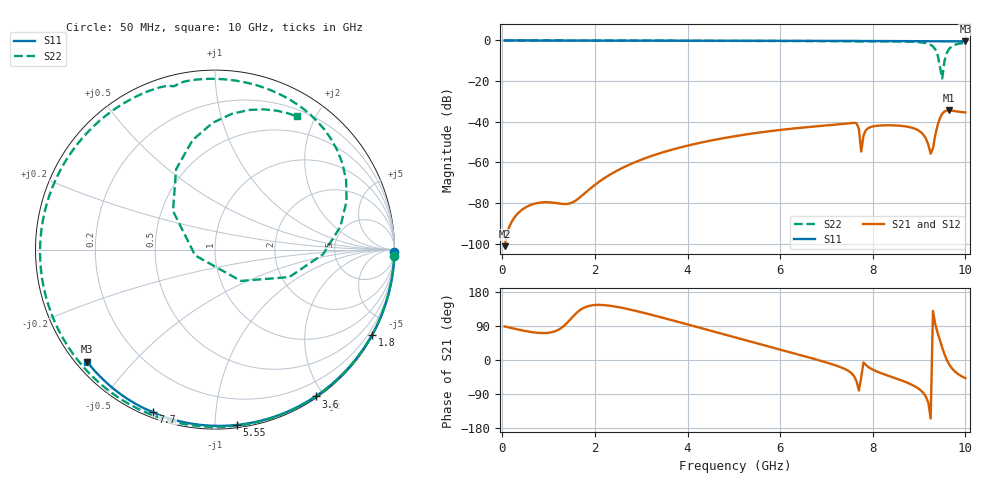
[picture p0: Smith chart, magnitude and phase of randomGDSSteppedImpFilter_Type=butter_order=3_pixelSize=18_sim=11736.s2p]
! freq	dB(S11)	phase(S11)	dB(S12)	phase(S12)
!  dB(S21)	phase(S21)	dB(S22)	phase(S22)
!S-par simulation data
#  GHz  S  DB  R 50
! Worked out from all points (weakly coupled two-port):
!   200 points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, 50 MHz to 10 GHz, reference 50 ohm
!   highest |S21| = -34.46 dB at 9.65 GHz (marker M1); lowest = -101.3 dB at 50 MHz (marker M2)
!   lowest |S11| = -0.5 dB at 10 GHz (marker M3), VSWR 37.00, Z = 1.54 - j18.8 ohm
!   |S11| at or under -10 dB: nowhere
!   |S22| runs from -18.7 to 0.0 dB; largest |S21 - S12| = 0
!   S11 on the Smith chart (normalised r, x): 50 MHz: open; 1.8 GHz: 0.03, -3.94; 3.6 GHz: 0.02, -1.90; 5.55 GHz: 0.02, -1.13; 7.7 GHz: 0.02, -0.69; 10 GHz: 0.03, -0.38
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0.05  -0.00 -0.8  -101.30 88.6  -101.30 88.6  -0.00 -2.2
1.5  -0.03 -23.8  -79.91 111.4  -79.91 111.4  -0.08 -62.7
1.75  -0.04 -27.7  -75.84 137.0  -75.84 137.0  -0.09 -72.3
1.8  -0.04 -28.5  -74.86 139.8  -74.86 139.8  -0.09 -74.2
3.4  -0.07 -52.7  -55.56 113.6  -55.56 113.6  -0.14 -128.7
3.6  -0.07 -55.6  -54.19 107.1  -54.19 107.1  -0.15 -134.9
5.05  -0.12 -76.1  -47.05 59.0  -47.05 59.0  -0.22 -176.9
5.55  -0.14 -82.9  -45.35 42.4  -45.35 42.4  -0.24 169.0
6.7  -0.19 -98.1  -42.45 4.0  -42.45 4.0  -0.31 135.8
7.6  -0.25 -109.5  -40.54 -43.3  -40.54 -43.3  -0.42 107.3
7.7  -0.27 -110.8  -43.47 -80.6  -43.47 -80.6  -0.55 104.2
7.75  -0.28 -111.3  -54.71 -46.2  -54.71 -46.2  -0.53 103.3
7.85  -0.27 -112.5  -44.22 -12.7  -44.22 -12.7  -0.43 99.8
8.35  -0.31 -118.7  -41.77 -42.2  -41.77 -42.2  -0.47 81.1
9  -0.36 -126.6  -44.51 -76.6  -44.51 -76.6  -0.86 47.9
9.15  -0.38 -128.4  -48.41 -97.3  -48.41 -97.3  -1.34 34.1
9.25  -0.39 -129.7  -55.77 -154.2  -55.77 -154.2  -2.15 20.2
9.4  -0.40 -131.5  -41.67 71.9  -41.67 71.9  -7.10 -20.3
9.5  -0.41 -132.7  -36.10 32.4  -36.10 32.4  -18.74 -163.9
9.55  -0.42 -133.3  -34.96 14.6  -34.96 14.6  -9.95 137.4
9.65  -0.43 -134.5  -34.46 -11.6  -34.46 -11.6  -4.11 101.5
10  -0.47 -138.7  -35.45 -47.9  -35.45 -47.9  -1.19 58.3
